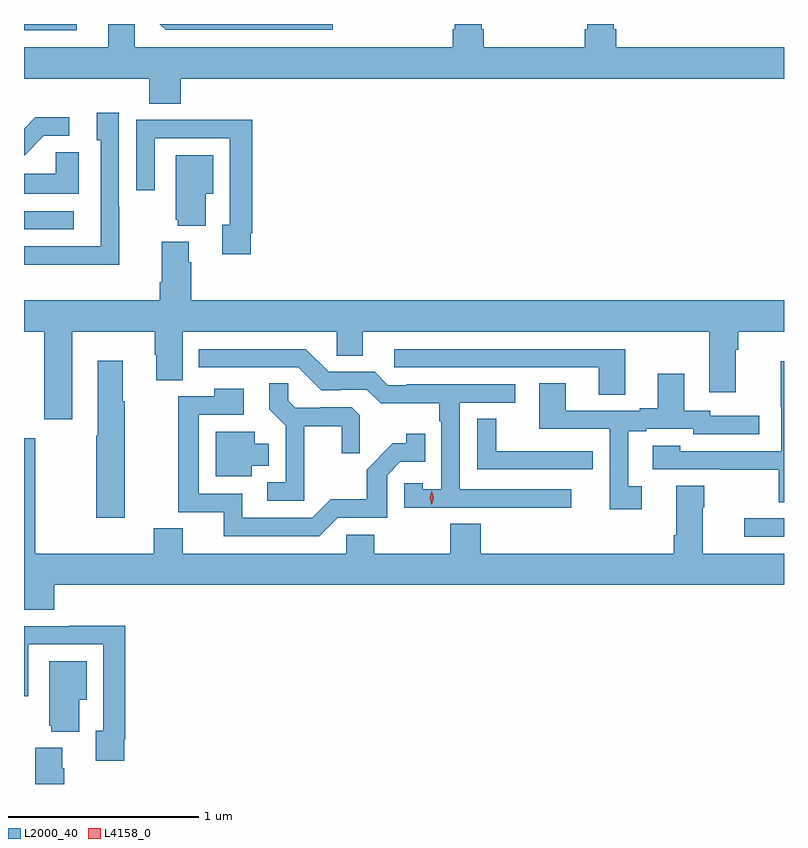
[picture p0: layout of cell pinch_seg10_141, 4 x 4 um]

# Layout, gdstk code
import gdstk
lib = gdstk.Library(unit=1e-6, precision=1e-09)
def R(c, l, rs):  # rectangles x0, y0, x1, y1
    for r in rs: c.add(gdstk.rectangle(r[:2], r[2:], *l))
def P(c, l, *ps):  # polygons
    for p in ps: c.add(gdstk.Polygon(p, *l))
L2000_40 = (2000, 40)
L4158_0 = (4158, 0)

pinch_seg10_141 = lib.new_cell('pinch_seg10_141')
R(pinch_seg10_141, L2000_40, [(688.689,1283.253,688.899,1283.349), (684.899,1284.87,685.162,1284.966), (684.899,1285.917,685.177,1285.951)])
P(pinch_seg10_141, L2000_40, [(685.724,1285.664),(688.899,1285.664),(688.899,1285.828),(688.016,1285.828),(688.016,1285.924),(688.003,1285.924),(688.003,1285.951),(687.863,1285.951),(687.863,1285.924),(687.851,1285.924),(687.851,1285.828),(687.32,1285.828),(687.32,1285.924),(687.307,1285.924),(687.307,1285.951),(687.167,1285.951),(687.167,1285.924),(687.155,1285.924),(687.155,1285.828),(685.482,1285.828),(685.482,1285.951),(685.343,1285.951),(685.343,1285.828),(684.899,1285.828),(684.899,1285.664),(685.559,1285.664),(685.559,1285.531),(685.724,1285.531)],
  [(686.524,1285.951),(685.613,1285.951),(685.644,1285.92),(686.524,1285.92)],
  [(685.401,1284.989),(685.398,1284.989),(685.398,1285.483),(685.283,1285.483),(685.283,1285.338),(685.302,1285.338),(685.302,1284.78),(684.899,1284.78),(684.899,1284.684),(684.937,1284.684),(684.937,1284.683),(685.401,1284.683)],
  [(685.003,1285.362),(685.138,1285.362),(685.138,1285.46),(684.959,1285.46),(684.899,1285.4),(684.899,1285.258)],
  [(686.092,1284.85),(686.099,1284.85),(686.099,1285.448),(685.807,1285.448),(685.807,1285.446),(685.491,1285.446),(685.491,1285.077),(685.587,1285.077),(685.587,1285.35),(685.983,1285.35),(685.983,1284.894),(685.943,1284.894),(685.943,1284.738),(686.092,1284.738)],
  [(685.186,1285.277),(685.065,1285.277),(685.065,1285.162),(684.899,1285.162),(684.899,1285.058),(685.186,1285.058)],
  [(685.855,1285.058),(685.894,1285.058),(685.894,1285.261),(685.697,1285.261),(685.697,1284.921),(685.709,1284.921),(685.709,1284.89),(685.855,1284.89)],
  [(685.153,1284.332),(685.588,1284.332),(685.588,1284.21),(685.595,1284.21),(685.595,1284.076),(685.735,1284.076),(685.735,1284.332),(686.544,1284.332),(686.544,1284.205),(686.683,1284.205),(686.683,1284.332),(688.505,1284.332),(688.505,1284.012),(688.645,1284.012),(688.645,1284.236),(688.658,1284.236),(688.658,1284.332),(688.899,1284.332),(688.899,1284.496),(685.778,1284.496),(685.778,1284.698),(685.765,1284.698),(685.765,1284.805),(685.625,1284.805),(685.625,1284.592),(685.613,1284.592),(685.613,1284.496),(684.899,1284.496),(684.899,1284.332),(685.006,1284.332),(685.006,1283.871),(685.153,1283.871)],
  [(688.063,1284.24),(686.847,1284.24),(686.847,1284.144),(687.923,1284.144),(687.923,1284.001),(688.063,1284.001)],
  [(687.778,1283.502),(687.192,1283.502),(687.192,1283.958),(687.484,1283.958),(687.484,1284.054),(686.914,1284.054),(686.914,1284.051),(686.814,1284.051),(686.745,1284.12),(686.502,1284.12),(686.382,1284.24),(685.82,1284.24),(685.82,1284.144),(686.343,1284.144),(686.463,1284.024),(686.564,1284.024),(686.564,1284.027),(686.703,1284.027),(686.776,1283.954),(687.084,1283.954),(687.084,1283.861),(687.096,1283.861),(687.096,1283.503),(686.997,1283.503),(686.997,1283.535),(686.901,1283.535),(686.901,1283.406),(687.385,1283.406),(687.385,1283.404),(687.778,1283.404)],
  [(685.428,1283.965),(685.42,1283.965),(685.42,1284.178),(685.286,1284.178),(685.286,1283.783),(685.279,1283.783),(685.279,1283.352),(685.428,1283.352)],
  [(688.899,1284.175),(688.882,1284.175),(688.882,1283.936),(688.884,1283.936),(688.884,1283.703),(688.353,1283.703),(688.353,1283.731),(688.209,1283.731),(688.209,1283.607),(688.567,1283.607),(688.567,1283.605),(688.872,1283.605),(688.872,1283.434),(688.899,1283.434)],
  [(688.15,1283.517),(688.078,1283.517),(688.078,1283.808),(688.174,1283.808),(688.174,1283.82),(688.422,1283.82),(688.422,1283.793),(688.768,1283.793),(688.768,1283.889),(688.512,1283.889),(688.512,1283.916),(688.375,1283.916),(688.375,1284.109),(688.235,1284.109),(688.235,1283.929),(688.139,1283.929),(688.139,1283.916),(687.751,1283.916),(687.751,1284.059),(687.611,1284.059),(687.611,1283.82),(687.981,1283.82),(687.981,1283.397),(688.15,1283.397)],
  [(686.375,1283.834),(686.572,1283.834),(686.572,1283.691),(686.666,1283.691),(686.666,1283.893),(686.625,1283.934),(686.46,1283.934),(686.46,1283.931),(686.326,1283.931),(686.289,1283.968),(686.289,1284.059),(686.191,1284.059),(686.191,1283.923),(686.277,1283.837),(686.277,1283.538),(686.178,1283.538),(686.178,1283.442),(686.375,1283.442)],
  [(686.55,1283.352),(686.811,1283.352),(686.811,1283.577),(686.88,1283.646),(687.011,1283.646),(687.011,1283.794),(686.91,1283.794),(686.91,1283.744),(686.84,1283.744),(686.703,1283.606),(686.703,1283.451),(686.514,1283.451),(686.415,1283.352),(686.047,1283.352),(686.047,1283.478),(685.818,1283.478),(685.818,1283.895),(686.056,1283.895),(686.056,1284.031),(685.9,1284.031),(685.9,1283.991),(685.71,1283.991),(685.71,1283.382),(685.949,1283.382),(685.949,1283.256),(686.454,1283.256)],
  [(687.892,1283.702),(687.779,1283.702),(687.779,1283.703),(687.384,1283.703),(687.384,1283.873),(687.285,1283.873),(687.285,1283.607),(687.892,1283.607)],
  [(686.098,1283.627),(686.188,1283.627),(686.188,1283.743),(686.113,1283.743),(686.113,1283.806),(685.907,1283.806),(685.907,1283.57),(686.098,1283.57)],
  [(685.058,1283),(688.899,1283),(688.899,1283.164),(688.471,1283.164),(688.471,1283.408),(688.479,1283.408),(688.479,1283.521),(688.331,1283.521),(688.331,1283.26),(688.319,1283.26),(688.319,1283.164),(687.302,1283.164),(687.302,1283.321),(687.142,1283.321),(687.142,1283.164),(686.742,1283.164),(686.742,1283.262),(686.595,1283.262),(686.595,1283.164),(685.735,1283.164),(685.735,1283.297),(685.583,1283.297),(685.583,1283.164),(684.958,1283.164),(684.958,1283.77),(684.899,1283.77),(684.899,1282.867),(685.058,1282.867)],
  [(685.426,1282.186),(685.433,1282.186),(685.433,1282.784),(685.141,1282.784),(685.141,1282.782),(684.899,1282.782),(684.899,1282.413),(684.921,1282.413),(684.921,1282.686),(685.317,1282.686),(685.317,1282.23),(685.277,1282.23),(685.277,1282.074),(685.426,1282.074)],
  [(685.189,1282.394),(685.228,1282.394),(685.228,1282.597),(685.031,1282.597),(685.031,1282.257),(685.043,1282.257),(685.043,1282.226),(685.189,1282.226)],
  [(685.112,1282.034),(685.099,1282.034),(685.099,1282.141),(684.959,1282.141),(684.959,1281.951),(685.112,1281.951)])
P(pinch_seg10_141, L4158_0, [(687.046,1283.421),(687.046,1283.421),(687.035,1283.457),(687.044,1283.493),(687.045,1283.494),(687.045,1283.493),(687.055,1283.457),(687.046,1283.421)])

lib.write_gds('pinch_seg10_141.gds')
